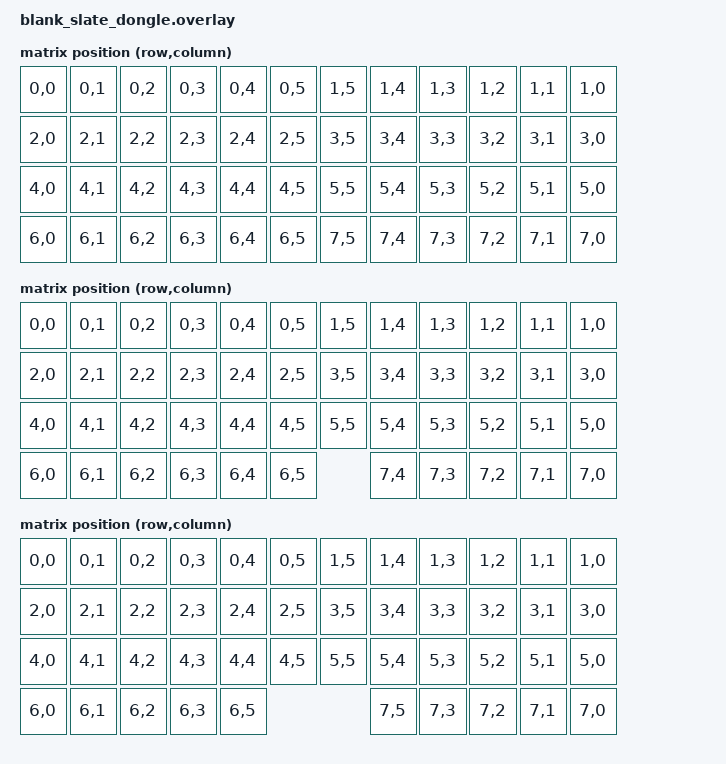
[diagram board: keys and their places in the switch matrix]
#include <dt-bindings/zmk/matrix_transform.h>
#include "blank_slate-layouts.dtsi"

&layout_ortho_4x12_all1u {
	transform = <&ortho_transform>;
};

&layout_ortho_4x12_1x2u {
	transform = <&mit_transform>;
};

&layout_ortho_4x12_2x2u {
	transform = <&dual_2u_transform>;
};

&xiao_i2c {
    status = "okay";
    
    oled: ssd1306@3c {
        compatible = "solomon,ssd1306fb";
        reg = <0x3c>;
        width = <128>;
        height = <64>;
        segment-offset = <0>;
        page-offset = <0>;
        display-offset = <0>;
        multiplex-ratio = <63>;
        segment-remap;
        com-invdir;
        inversion-on;
        prechargep = <0x22>;
    };
};

/ {
    chosen {
        zmk,kscan = &mock_kscan;
        zmk,physical-layout =
                       &layout_ortho_4x12_1x2u;
		zmk,display = &oled;
    };

    mock_kscan: mock_kscan_0 {
        compatible = "zmk,kscan-mock";
        columns = <0>;
        rows = <0>;
        events = <0>;
    };

    ortho_transform: ortho_transform {
		compatible = "zmk,matrix-transform";
		rows = <4>;
		columns = <12>;

		map = <
	RC(0,0) RC(0,1) RC(0,2) RC(0,3) RC(0,4) RC(0,5) RC(1,5) RC(1,4) RC(1,3) RC(1,2) RC(1,1) RC(1,0)
	RC(2,0) RC(2,1) RC(2,2) RC(2,3) RC(2,4) RC(2,5) RC(3,5) RC(3,4) RC(3,3) RC(3,2) RC(3,1) RC(3,0)
	RC(4,0) RC(4,1) RC(4,2) RC(4,3) RC(4,4) RC(4,5) RC(5,5) RC(5,4) RC(5,3) RC(5,2) RC(5,1) RC(5,0)
	RC(6,0) RC(6,1) RC(6,2) RC(6,3) RC(6,4) RC(6,5) RC(7,5) RC(7,4) RC(7,3) RC(7,2) RC(7,1) RC(7,0)
	>;
	};

	mit_transform: mit_transform {
		compatible = "zmk,matrix-transform";
		rows = <4>;
		columns = <12>;

		map = <
	RC(0,0) RC(0,1) RC(0,2) RC(0,3) RC(0,4) RC(0,5) RC(1,5) RC(1,4) RC(1,3) RC(1,2) RC(1,1) RC(1,0)
	RC(2,0) RC(2,1) RC(2,2) RC(2,3) RC(2,4) RC(2,5) RC(3,5) RC(3,4) RC(3,3) RC(3,2) RC(3,1) RC(3,0)
	RC(4,0) RC(4,1) RC(4,2) RC(4,3) RC(4,4) RC(4,5) RC(5,5) RC(5,4) RC(5,3) RC(5,2) RC(5,1) RC(5,0)
	RC(6,0) RC(6,1) RC(6,2) RC(6,3) RC(6,4)     RC(6,5)     RC(7,4) RC(7,3) RC(7,2) RC(7,1) RC(7,0)
	>;
	};

	dual_2u_transform: dual_2u_transform {
		compatible = "zmk,matrix-transform";
		rows = <4>;
		columns = <12>;

		map = <
	RC(0,0) RC(0,1) RC(0,2) RC(0,3) RC(0,4) RC(0,5) RC(1,5) RC(1,4) RC(1,3) RC(1,2) RC(1,1) RC(1,0)
	RC(2,0) RC(2,1) RC(2,2) RC(2,3) RC(2,4) RC(2,5) RC(3,5) RC(3,4) RC(3,3) RC(3,2) RC(3,1) RC(3,0)
	RC(4,0) RC(4,1) RC(4,2) RC(4,3) RC(4,4) RC(4,5) RC(5,5) RC(5,4) RC(5,3) RC(5,2) RC(5,1) RC(5,0)
	RC(6,0) RC(6,1) RC(6,2) RC(6,3)      RC(6,5)       RC(7,5)      RC(7,3) RC(7,2) RC(7,1) RC(7,0)
	>;
	};
};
